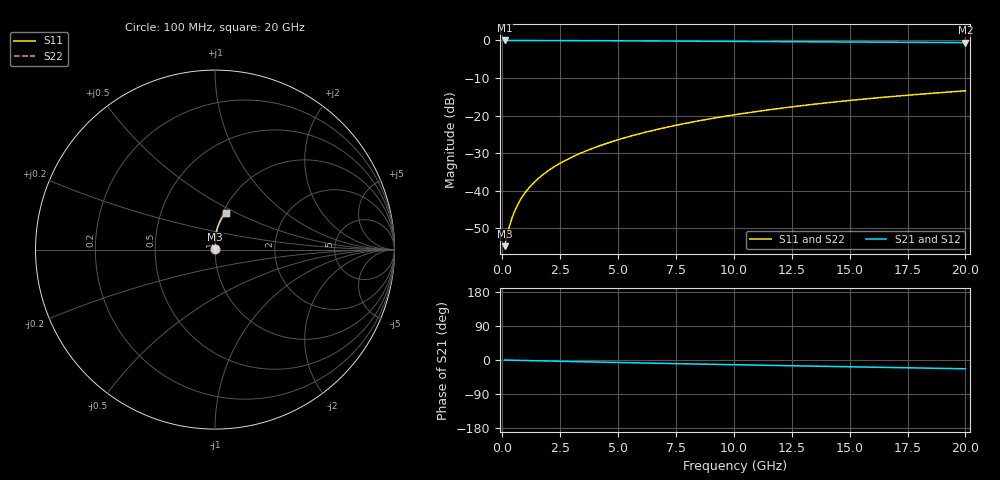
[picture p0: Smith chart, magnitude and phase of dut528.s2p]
! Touchstone file exported from HFSS 2024.1.0
!  File:  C:/UserFiles/LocalFiles/RDL_TSV_Batchsim/temp_RDL_bottom_528_1779688420.aedt
!  Generated:  01:56:01 PM May 25, 2026
!  Design:  RDL_bottom
!  Project:  temp_RDL_bottom_528_1779688420
!  Setup:  Setup1
!  Solution:  Sweep
! Variables:
!  dtsv = 10.80580581um
!  hbump = 3um
!  htsv = 81.06um
!  ldown = 333.37um
!  lrdl = 100um
!  p = 40
!  p1 = 43.42um
!  rhole = 1um
!  t = 450um
!  tdown = 4um
!  trdl = 3.915915916um
!  wdown = 22.45um
!  wrdl = 20um
# GHz S MA R 50.000000
! Terminal data exported
! Port[1] = RDL1_T1
! Port[2] = RDL1_T2
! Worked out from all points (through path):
!   200 points, 100 MHz to 20 GHz, reference 50 ohm
!   highest |S21| = -0.01 dB at 100 MHz (marker M1); lowest = -0.6 dB at 20 GHz (marker M2)
!   group delay of S21, straight-line fit = 3.18 ps
!   lowest |S11| = -54.7 dB at 100 MHz (marker M3), VSWR 1.00, Z = 50.2 + j0.104 ohm
!   |S11| at or under -10 dB: start of sweep to end of sweep
!   |S22| runs from -54.7 to -13.4 dB; largest |S21 - S12| = 4.2e-15
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0.1  0.001836 34.6  0.9985 -0.1  0.9985 -0.1  0.001836 34.6
! Gamma 0 0 0 0
! Port Impedance 50 0 50 0
0.3  0.003294 62.7  0.9983 -0.4  0.9983 -0.4  0.003295 62.7
0.4  0.004164 68.3  0.9982 -0.6  0.9982 -0.6  0.004165 68.3
0.5  0.005056 71.9  0.9981 -0.7  0.9981 -0.7  0.005057 71.9
0.6  0.005955 74.4  0.998 -0.8  0.998 -0.8  0.005956 74.4
0.8  0.007757 77.6  0.9978 -1.1  0.9978 -1.1  0.007758 77.6
1.1  0.01046 80.5  0.9975 -1.5  0.9975 -1.5  0.01046 80.5
1.5  0.01407 82.8  0.9971 -2.0  0.9971 -2.0  0.01407 82.8
1.8  0.0168 84.0  0.9966 -2.4  0.9966 -2.4  0.0168 84.0
2.1  0.01955 85.0  0.9961 -2.8  0.9961 -2.8  0.01955 84.9
2.7  0.02514 86.2  0.9949 -3.6  0.9949 -3.6  0.02514 86.2
3.5  0.0328 87.3  0.9929 -4.7  0.9929 -4.7  0.0328 87.3
4.2  0.03968 87.8  0.991 -5.6  0.991 -5.6  0.03968 87.8
5  0.04777 88.0  0.9885 -6.6  0.9885 -6.6  0.04777 88.0
5.9  0.05713 88.0  0.9854 -7.7  0.9854 -7.7  0.05712 88.0
6.8  0.06673 87.7  0.9823 -8.8  0.9823 -8.8  0.06673 87.7
8.4  0.0843 86.8  0.9765 -10.6  0.9765 -10.6  0.0843 86.7
10.1  0.1034 85.3  0.9703 -12.6  0.9703 -12.6  0.1034 85.3
11.7  0.1216 83.6  0.9645 -14.3  0.9645 -14.3  0.1216 83.6
13.4  0.1409 81.7  0.9585 -16.2  0.9585 -16.2  0.1409 81.7
16.7  0.1779 77.8  0.947 -19.7  0.947 -19.7  0.1779 77.8
20  0.2136 73.9  0.9354 -23.2  0.9354 -23.2  0.2136 73.9
